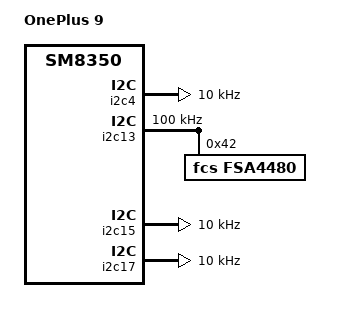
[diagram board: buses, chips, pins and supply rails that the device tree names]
/dts-v1/;

#include "sm8350-oneplus-common.dtsi"

/ {
	model = "OnePlus 9";
	compatible = "qcom,sm8350", "qcom,lahaina", "qcom,lemonadep";

	chosen {
		framebuffer0: framebuffer@e4d00000 {
			compatible = "simple-framebuffer";
			reg = <0x0 0xe4d00000 0x0 0x2400000>;
			width = <1080>;
			height = <2412>;
			stride = <(1080 * 4)>;
			format = "a8r8g8b8";

			clocks = <&gcc GCC_DISP_HF_AXI_CLK>,
				 <&gcc GCC_DISP_SF_AXI_CLK>;
		};
	};
};

&reserved_memory {
	framebuffer_region@e4d00000 {
		reg = <0x0 0xe1000000 0x0 0x02300000>;
		no-map;
	};
};

// Almost definitely belongs to the dtsi but idk

&pm8350_gpios {
	usb2_vbus_boost_default {
		pins = "gpio8";
		function = "normal";
		output-low;
		power-source = <0x00>;
		phandle = <0x5e1>;
	};

	usb2_vbus_det_default {
		pins = "gpio9";
		function = "normal";
		input-enable;
		bias-disable;
		power-source = <0x00>;
		phandle = <0x5e0>;
	};

	gpio1_adc_default: gpio1-adc-default {
		pins = "gpio1";
		function = "normal";
		bias-high-impedance;
		bias-disable;
		phandle = <0x566>;
	};

	gpio3_adc_default: gpio3-adc-default {
		pins = "gpio3";
		function = "normal";
		bias-high-impedance;
		bias-disable;
		phandle = <0x567>;
	};
};

// TODO: do these need to be here or in dtsi?

&i2c4 {
	status = "okay";
	/* XXX: Don't forget to increase this.. */
	clock-frequency = <10000>;

	/* Synaptics on-cell S3908 touch controller @ 4B */
};

&i2c13 {
	status = "okay";
	clock-frequency = <100000>;

	fsa4480@42 {
		compatible = "fcs,fsa4480";
		reg = <0x42>;
		mode-switch;
		orientation-switch;
	};

	/* Qualcomm PM8008i/PM8008j (?) @ 8, 9, c, d */
};

&i2c15 {
	status = "okay";
	clock-frequency = <10000>;

	/*
	 * The OnePlus 9 uses a pair of hall sensors for the
	 * tri-state key UP and DOWN detection, one of the
	 * following variants:
	 *
	 * ist8801 hall sensor @ 18, 19
	 * MagnaChip MXM1120 hall sensor @ 0C, 0D
	 */
	
	/* sn-nci NFC controller @ 28 */
};

&i2c17 {
	status = "okay";
	clock-frequency = <10000>;

	/* Awinic aw8697 haptics driver @ 5A */
};

&tlmm {
	gpio-reserved-ranges = <44 4>;

	ts_int_default: ts-int-default-state {
		pins = "gpio23";
		function = "gpio";
		drive-strength = <2>;
		bias-disable;
	};
};
